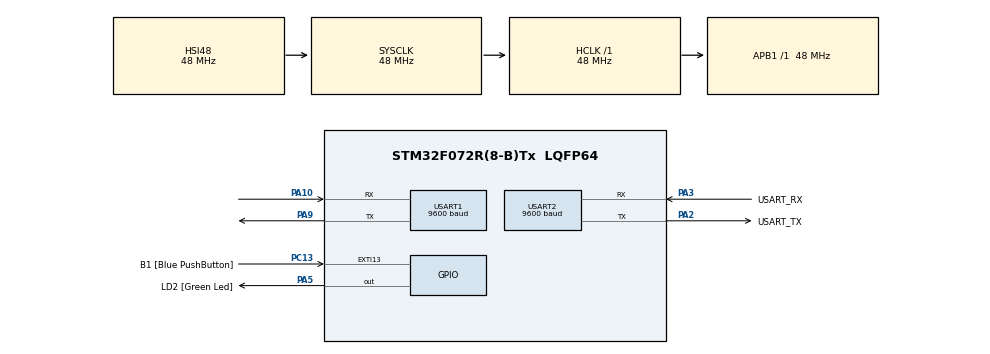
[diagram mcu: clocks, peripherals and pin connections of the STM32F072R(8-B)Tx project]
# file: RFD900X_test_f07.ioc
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Mcu.Family=STM32F0
Mcu.Name=STM32F072R(8-B)Tx
Mcu.Package=LQFP64
PA10.Mode=Asynchronous
PA10.Signal=USART1_RX
PA13.GPIO_Label=TMS
PA13.Mode=Serial_Wire
PA13.Signal=SYS_SWDIO
PA14.GPIO_Label=TCK
PA14.Mode=Serial_Wire
PA14.Signal=SYS_SWCLK
PA2.GPIO_Label=USART_TX
PA2.GPIO_Mode=GPIO_MODE_AF_PP
PA2.GPIO_PuPd=GPIO_NOPULL
PA2.GPIO_Speed=GPIO_SPEED_FREQ_LOW
PA2.Mode=Asynchronous
PA2.Signal=USART2_TX
PA3.GPIO_Label=USART_RX
PA3.GPIO_Mode=GPIO_MODE_AF_PP
PA3.GPIO_PuPd=GPIO_NOPULL
PA3.GPIO_Speed=GPIO_SPEED_FREQ_LOW
PA3.Mode=Asynchronous
PA3.Signal=USART2_RX
PA5.GPIO_Label=LD2 [Green Led]
PA5.GPIO_Mode=GPIO_MODE_OUTPUT_PP
PA5.GPIO_PuPd=GPIO_NOPULL
PA5.GPIO_Speed=GPIO_SPEED_FREQ_LOW
PA5.Signal=GPIO_Output
PA9.Mode=Asynchronous
PA9.Signal=USART1_TX
PC13.GPIO_Label=B1 [Blue PushButton]
PC13.GPIO_ModeDefaultEXTI=GPIO_MODE_IT_FALLING
PC13.Signal=GPXTI13
PC14-OSC32_IN.Mode=LSE-External-Oscillator
PC14-OSC32_IN.Signal=RCC_OSC32_IN
PC15-OSC32_OUT.Mode=LSE-External-Oscillator
PC15-OSC32_OUT.Signal=RCC_OSC32_OUT
PF0-OSC_IN.Mode=HSE-External-Clock-Source
PF0-OSC_IN.Signal=RCC_OSC_IN
PF1-OSC_OUT.Signal=RCC_OSC_OUT
ProjectManager.HeapSize=0x200
ProjectManager.StackSize=0x400
ProjectManager.TargetToolchain=STM32CubeIDE
RCC.AHBFreq_Value=48000000
RCC.APB1Freq_Value=48000000
RCC.APB1TimFreq_Value=48000000
RCC.FLatency-AdvancedSettings=FLASH_LATENCY_1
RCC.HCLKFreq_Value=48000000
RCC.PLLDivider=RCC_PREDIV_DIV2
RCC.PLLMUL=RCC_PLL_MUL12
RCC.PREFETCH_ENABLE-AdvancedSettings=1
RCC.SYSCLKFreq_VALUE=48000000
RCC.SYSCLKSource=RCC_SYSCLKSOURCE_HSI48
USART1.BaudRate=9600
USART1.VirtualMode-Asynchronous=VM_ASYNC
USART2.BaudRate=9600
USART2.VirtualMode=VM_ASYNC
USART2.VirtualMode-Asynchronous=VM_ASYNC
board=NUCLEO-F072RB

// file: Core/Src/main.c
/* USER CODE BEGIN Header */
/**
  ******************************************************************************
  * @file           : main.c
  * @brief          : Main program body
  ******************************************************************************
  * @attention
  *
  * Copyright (c) 2022 STMicroelectronics.
  * All rights reserved.
  *
  * This software is licensed under terms that can be found in the LICENSE file
  * in the root directory of this software component.
  * If no LICENSE file comes with this software, it is provided AS-IS.
  *
  ******************************************************************************
  */
/* USER CODE END Header */
#include "main.h"

/* USER CODE BEGIN Includes */
#include <string.h>
/* USER CODE END Includes */

UART_HandleTypeDef huart1;
UART_HandleTypeDef huart2;

void SystemClock_Config(void);
static void MX_GPIO_Init(void);
static void MX_USART2_UART_Init(void);
static void MX_USART1_UART_Init(void);

int main(void)
{

  /* MCU Configuration--------------------------------------------------------*/

  /* Reset of all peripherals, Initializes the Flash interface and the Systick. */
  HAL_Init();

  /* Configure the system clock */
  SystemClock_Config();

  /* Initialize all configured peripherals */
  MX_GPIO_Init();
  MX_USART2_UART_Init();
  MX_USART1_UART_Init();

  /* Infinite loop */
  /* USER CODE BEGIN WHILE */
  uint8_t data_recieve[10];
  uint8_t corrupt_percent;

  char info[] = "In the current 100 value the corrupt rate is: ";
  char ending[] = " % \n\n";
  char warning[] = "There is no input\n";

  while (1)
  {
	  HAL_UART_Receive(&huart1, data_recieve, sizeof(data_recieve), 10);
	  if(data_recieve[0] == 0) {
		  HAL_UART_Transmit(&huart2, warning, sizeof(warning), 10);
	  }
    /* USER CODE END WHILE */

    /* USER CODE BEGIN 3 */
	//evaluating the value
	for(int i = 1; i < 10; i++) {
		if(data_recieve[i] - data_recieve[i-1] != 1) {
			corrupt_percent ++;
		} else {
      data_recieve[i] = 0;
    }
		if (data_recieve[i] == 100) {
			HAL_UART_Transmit(&huart2, info, sizeof(info), 10);
			HAL_UART_Transmit(&huart2, corrupt_percent, 4, 10);//trying to say they is a int value
			HAL_UART_Transmit(&huart2, ending, sizeof(ending), 10);
			corrupt_percent = 0;
		}
	}
  }

  /* USER CODE END 3 */
}

void SystemClock_Config(void)
{
  RCC_OscInitTypeDef RCC_OscInitStruct = {0};
  RCC_ClkInitTypeDef RCC_ClkInitStruct = {0};
  RCC_PeriphCLKInitTypeDef PeriphClkInit = {0};

  /** Initializes the RCC Oscillators according to the specified parameters
  * in the RCC_OscInitTypeDef structure.
  */
  RCC_OscInitStruct.OscillatorType = RCC_OSCILLATORTYPE_HSI48;
  RCC_OscInitStruct.HSI48State = RCC_HSI48_ON;
  RCC_OscInitStruct.PLL.PLLState = RCC_PLL_NONE;
  if (HAL_RCC_OscConfig(&RCC_OscInitStruct) != HAL_OK)
  {
    Error_Handler();
  }

  /** Initializes the CPU, AHB and APB buses clocks
  */
  RCC_ClkInitStruct.ClockType = RCC_CLOCKTYPE_HCLK|RCC_CLOCKTYPE_SYSCLK
                              |RCC_CLOCKTYPE_PCLK1;
  RCC_ClkInitStruct.SYSCLKSource = RCC_SYSCLKSOURCE_HSI48;
  RCC_ClkInitStruct.AHBCLKDivider = RCC_SYSCLK_DIV1;
  RCC_ClkInitStruct.APB1CLKDivider = RCC_HCLK_DIV1;

  if (HAL_RCC_ClockConfig(&RCC_ClkInitStruct, FLASH_LATENCY_1) != HAL_OK)
  {
    Error_Handler();
  }
  PeriphClkInit.PeriphClockSelection = RCC_PERIPHCLK_USART1|RCC_PERIPHCLK_USART2;
  PeriphClkInit.Usart1ClockSelection = RCC_USART1CLKSOURCE_PCLK1;
  PeriphClkInit.Usart2ClockSelection = RCC_USART2CLKSOURCE_PCLK1;
  if (HAL_RCCEx_PeriphCLKConfig(&PeriphClkInit) != HAL_OK)
  {
    Error_Handler();
  }
}

static void MX_USART1_UART_Init(void)
{

  huart1.Instance = USART1;
  huart1.Init.BaudRate = 460800;
  huart1.Init.WordLength = UART_WORDLENGTH_8B;
  huart1.Init.StopBits = UART_STOPBITS_1;
  huart1.Init.Parity = UART_PARITY_NONE;
  huart1.Init.Mode = UART_MODE_TX_RX;
  huart1.Init.HwFlowCtl = UART_HWCONTROL_NONE;
  huart1.Init.OverSampling = UART_OVERSAMPLING_16;
  huart1.Init.OneBitSampling = UART_ONE_BIT_SAMPLE_DISABLE;
  huart1.AdvancedInit.AdvFeatureInit = UART_ADVFEATURE_NO_INIT;
  if (HAL_UART_Init(&huart1) != HAL_OK)
  {
    Error_Handler();
  }

}

static void MX_USART2_UART_Init(void)
{

  huart2.Instance = USART2;
  huart2.Init.BaudRate = 38400;
  huart2.Init.WordLength = UART_WORDLENGTH_8B;
  huart2.Init.StopBits = UART_STOPBITS_1;
  huart2.Init.Parity = UART_PARITY_NONE;
  huart2.Init.Mode = UART_MODE_TX_RX;
  huart2.Init.HwFlowCtl = UART_HWCONTROL_NONE;
  huart2.Init.OverSampling = UART_OVERSAMPLING_16;
  huart2.Init.OneBitSampling = UART_ONE_BIT_SAMPLE_DISABLE;
  huart2.AdvancedInit.AdvFeatureInit = UART_ADVFEATURE_NO_INIT;
  if (HAL_UART_Init(&huart2) != HAL_OK)
  {
    Error_Handler();
  }

}

static void MX_GPIO_Init(void)
{
  GPIO_InitTypeDef GPIO_InitStruct = {0};

  /* GPIO Ports Clock Enable */
  __HAL_RCC_GPIOC_CLK_ENABLE();
  __HAL_RCC_GPIOF_CLK_ENABLE();
  __HAL_RCC_GPIOA_CLK_ENABLE();

  /*Configure GPIO pin Output Level */
  HAL_GPIO_WritePin(LD2_GPIO_Port, LD2_Pin, GPIO_PIN_RESET);

  /*Configure GPIO pin : B1_Pin */
  GPIO_InitStruct.Pin = B1_Pin;
  GPIO_InitStruct.Mode = GPIO_MODE_IT_FALLING;
  GPIO_InitStruct.Pull = GPIO_NOPULL;
  HAL_GPIO_Init(B1_GPIO_Port, &GPIO_InitStruct);

  /*Configure GPIO pin : LD2_Pin */
  GPIO_InitStruct.Pin = LD2_Pin;
  GPIO_InitStruct.Mode = GPIO_MODE_OUTPUT_PP;
  GPIO_InitStruct.Pull = GPIO_NOPULL;
  GPIO_InitStruct.Speed = GPIO_SPEED_FREQ_LOW;
  HAL_GPIO_Init(LD2_GPIO_Port, &GPIO_InitStruct);

}

void Error_Handler(void)
{
  __disable_irq();
  while (1)
  {
  }
}
